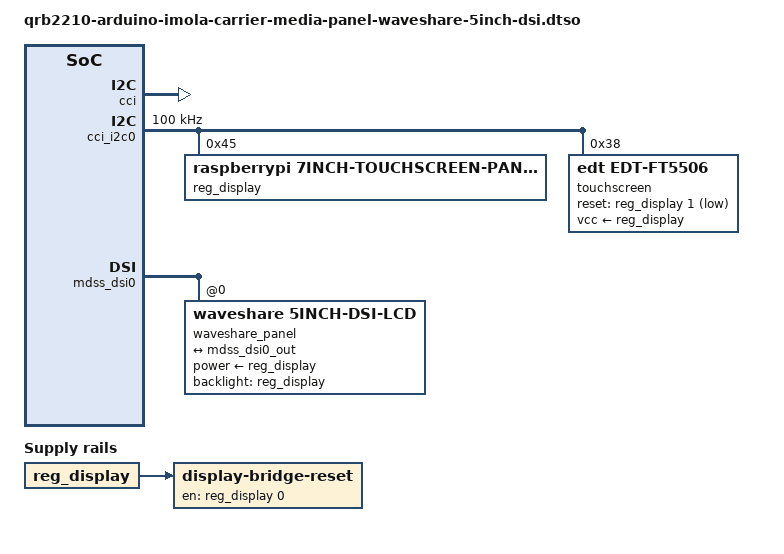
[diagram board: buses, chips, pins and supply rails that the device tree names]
// SPDX-License-Identifier: (GPL-2.0-only OR BSD-2-Clause)
/*
 * Waveshare 5inch DSI LCD Rev2.2, 800x480 (SKU 18396).
 * WSDIA1 handles I2C control; a separate ICN6211 bridges DSI to the LCD.
 * Model the complete assembly as a DSI panel, as in the Raspberry Pi
 * vc4-kms-dsi-waveshare-800x480 overlay.
 */

/dts-v1/;
/plugin/;

#include <dt-bindings/gpio/gpio.h>

&{/} {
	/* Release LCD/bridge reset after enabling the controller supply. */
	regulator-display-bridge {
		compatible = "regulator-fixed";
		regulator-name = "display-bridge-reset";
		gpio = <&reg_display 0 GPIO_ACTIVE_HIGH>;
		vin-supply = <&reg_display>;
		enable-active-high;
		regulator-always-on;
	};
};

&cci {
	status = "okay";
};

&cci_i2c0 {
	clock-frequency = <100000>;
	#address-cells = <1>;
	#size-cells = <0>;
	status = "okay";

	reg_display: regulator@45 {
		compatible = "raspberrypi,7inch-touchscreen-panel-regulator";
		reg = <0x45>;
		gpio-controller;
		#gpio-cells = <2>;
	};

	touchscreen@38 {
		compatible = "edt,edt-ft5506";
		reg = <0x38>;
		vcc-supply = <&reg_display>;
		reset-gpios = <&reg_display 1 GPIO_ACTIVE_LOW>;
		touchscreen-size-x = <800>;
		touchscreen-size-y = <480>;
		touchscreen-inverted-x;
		touchscreen-inverted-y;
	};
};

&mdss_dsi0 {
	vdda-supply = <&pm4125_l5>;
	#address-cells = <1>;
	#size-cells = <0>;
	status = "okay";

	waveshare_panel: panel@0 {
		compatible = "waveshare,5inch-dsi-lcd";
		reg = <0>;
		power-supply = <&reg_display>;
		backlight = <&reg_display>;

		port {
			waveshare_panel_in: endpoint {
				remote-endpoint = <&mdss_dsi0_out>;
			};
		};
	};
};

&mdss_dsi0_out {
	remote-endpoint = <&waveshare_panel_in>;
	data-lanes = <0>;
};
